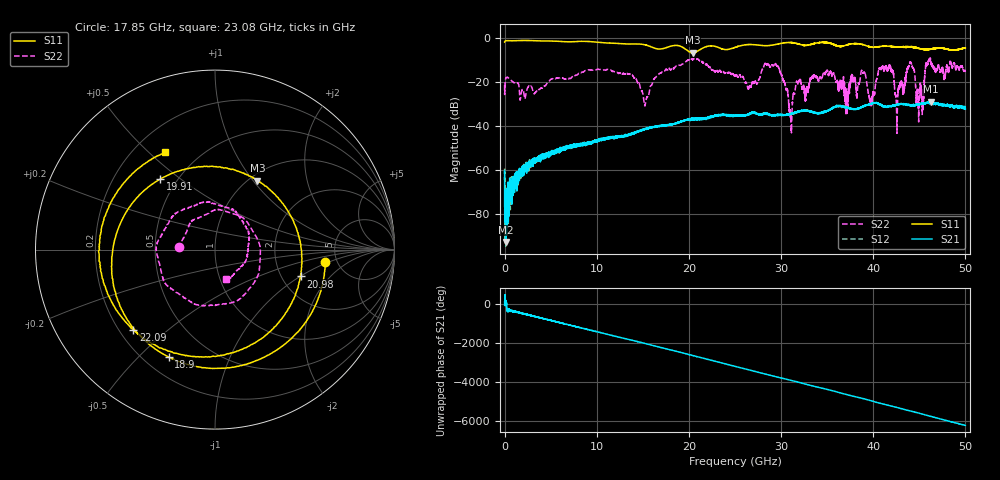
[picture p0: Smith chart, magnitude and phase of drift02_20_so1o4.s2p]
!Created with skrf (http://scikit-rf.org).
# Hz S RI R 50.0
!freq ReS11 ImS11 ReS21 ImS21 ReS12 ImS12 ReS22 ImS22
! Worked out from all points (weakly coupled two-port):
!   10001 points, 300 kHz to 50 GHz, reference 50 ohm
!   highest |S21| = -29.04 dB at 46.23 GHz (marker M1); lowest = -92.4 dB at 135.3 MHz (marker M2)
!   lowest |S11| = -6.9 dB at 20.41 GHz (marker M3), VSWR 2.64, Z = 54.6 + j52.5 ohm
!   |S11| at or under -10 dB: nowhere
!   |S22| runs from -43.3 to -9.2 dB; largest |S21 - S12| = 0.0031
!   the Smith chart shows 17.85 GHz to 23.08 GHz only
!   S11 on the Smith chart (normalised r, x): 17.85 GHz: 4.02, -0.90; 18.9 GHz: 0.30, -0.62; 19.91 GHz: 0.40, +0.42; 20.98 GHz: 2.53, -1.01; 22.09 GHz: 0.26, -0.39; 23.08 GHz: 0.33, +0.56
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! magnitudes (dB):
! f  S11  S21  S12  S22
! 300 kHz  -2.1  -60.3  -59.2  -21.5
! 135.3 MHz  -1.5  -92.4  -78.7  -18.4
! 8.335 GHz  -1.7  -48.5  -48.3  -15.8
! 15.32 GHz  -3.4  -41.5  -41.1  -29.2
! 16.67 GHz  -5.2  -40.2  -40.2  -16.9
! 17.85 GHz  -4.2  -39.5  -39.4  -14.0
! 18.9 GHz  -3.7  -38.3  -38.5  -12.6
! 19.91 GHz  -6.1  -37.1  -37.1  -10.2
! 20.41 GHz  -6.9  -36.6  -37.1  -10.0
! 20.98 GHz  -6.0  -36.9  -36.9  -9.7
! 22.09 GHz  -3.9  -36.2  -36.5  -12.9
! 23.08 GHz  -4.3  -35.2  -35.2  -15.0
! 25 GHz  -4.5  -35.2  -35.1  -17.5
! 29.5 GHz  -3.0  -34.9  -35.1  -12.6
! 31.04 GHz  -2.3  -34.5  -34.7  -34.3
! 33.34 GHz  -3.0  -33.5  -33.4  -18.2
! 39.73 GHz  -4.4  -30.1  -30.0  -30.6
! 41.67 GHz  -4.0  -31.1  -31.1  -13.3
! 44.16 GHz  -4.0  -30.6  -30.7  -12.0
! 44.85 GHz  -4.8  -30.0  -30.2  -25.7
! 46.23 GHz  -5.2  -29.0  -29.2  -10.3
! 50 GHz  -4.7  -32.3  -32.0  -15.6
